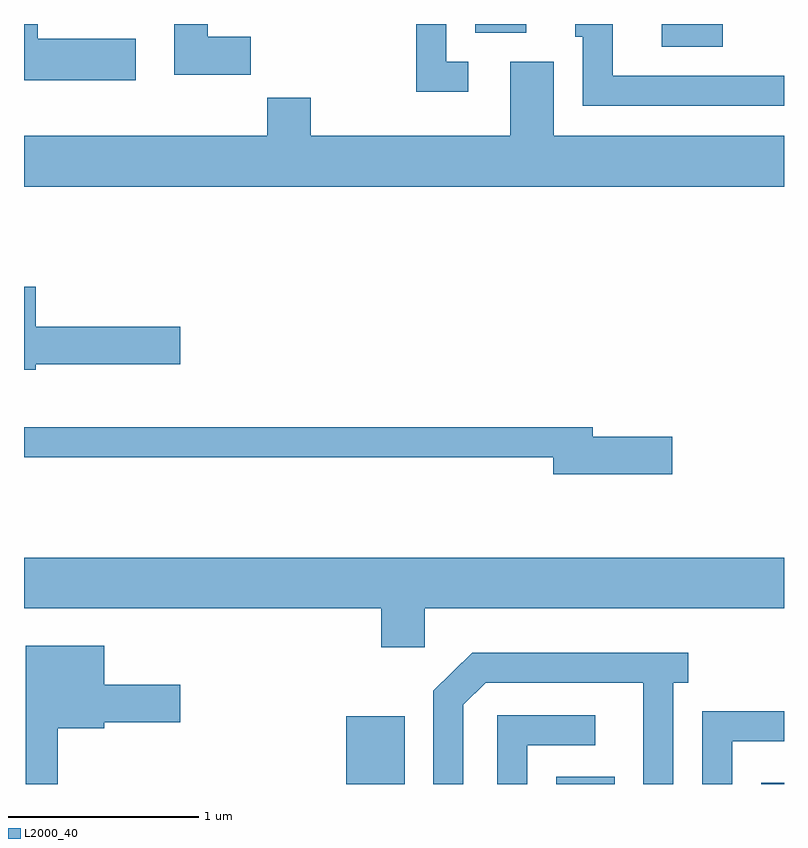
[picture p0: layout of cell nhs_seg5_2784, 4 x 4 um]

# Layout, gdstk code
import gdstk
lib = gdstk.Library(unit=1e-6, precision=1e-09)
def R(c, l, rs):  # rectangles x0, y0, x1, y1
    for r in rs: c.add(gdstk.rectangle(r[:2], r[2:], *l))
def P(c, l, *ps):  # polygons
    for p in ps: c.add(gdstk.Polygon(p, *l))
L2000_40 = (2000, 40)

nhs_seg5_2784 = lib.new_cell('nhs_seg5_2784')
R(nhs_seg5_2784, L2000_40, [(269.306,1478.072,269.614,1478.429), (270.411,1478.072,270.719,1478.109), (271.491,1478.072,271.611,1478.079), (270.968,1481.951,271.289,1482.072), (269.986,1482.026,270.254,1482.072)])
P(nhs_seg5_2784, L2000_40, [(269.948,1481.874),(269.834,1481.874),(269.834,1482.072),(269.676,1482.072),(269.676,1481.716),(269.948,1481.716)],
  [(271.611,1481.799),(270.709,1481.799),(270.709,1482.072),(270.511,1482.072),(270.511,1482.006),(270.551,1482.006),(270.551,1481.641),(271.611,1481.641)],
  [(268.804,1482.004),(268.579,1482.004),(268.579,1482.072),(268.401,1482.072),(268.401,1481.806),(268.804,1481.806)],
  [(268.199,1481.994),(267.684,1481.994),(267.684,1482.072),(267.611,1482.072),(267.611,1481.776),(268.199,1481.776)],
  [(271.611,1481.484),(270.399,1481.484),(270.399,1481.874),(270.171,1481.874),(270.171,1481.484),(269.119,1481.484),(269.119,1481.684),(268.891,1481.684),(268.891,1481.484),(267.611,1481.484),(267.611,1481.216),(271.611,1481.216)],
  [(267.674,1480.281),(268.434,1480.281),(268.434,1480.479),(267.674,1480.479),(267.674,1480.689),(267.611,1480.689),(267.611,1480.251),(267.674,1480.251)],
  [(271.024,1479.899),(270.604,1479.899),(270.604,1479.949),(267.611,1479.949),(267.611,1479.791),(270.396,1479.791),(270.396,1479.701),(271.024,1479.701)],
  [(269.719,1478.996),(271.611,1478.996),(271.611,1479.264),(267.611,1479.264),(267.611,1478.996),(269.491,1478.996),(269.491,1478.791),(269.719,1478.791)],
  [(267.789,1478.366),(268.034,1478.366),(268.034,1478.396),(268.434,1478.396),(268.434,1478.594),(268.034,1478.594),(268.034,1478.799),(267.621,1478.799),(267.621,1478.072),(267.789,1478.072)],
  [(269.924,1478.489),(270.042,1478.606),(270.871,1478.606),(270.871,1478.072),(271.029,1478.072),(271.029,1478.606),(271.108,1478.606),(271.108,1478.764),(269.969,1478.764),(269.766,1478.562),(269.766,1478.072),(269.924,1478.072)],
  [(271.339,1478.296),(271.611,1478.296),(271.611,1478.454),(271.181,1478.454),(271.181,1478.072),(271.339,1478.072)],
  [(270.259,1478.276),(270.618,1478.276),(270.618,1478.434),(270.101,1478.434),(270.101,1478.072),(270.259,1478.072)])

lib.write_gds('nhs_seg5_2784.gds')
